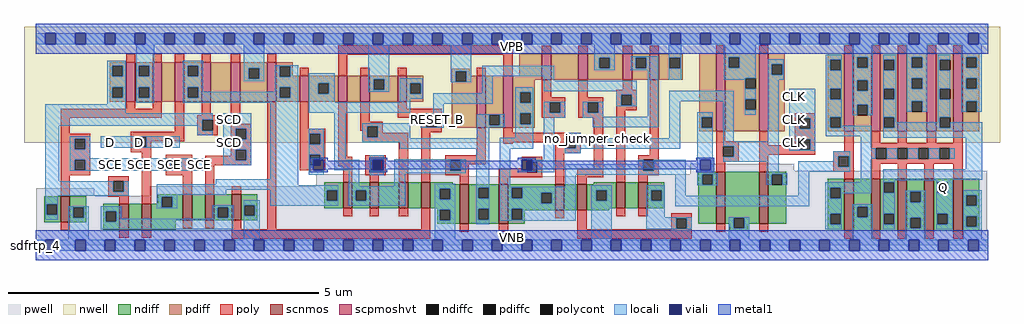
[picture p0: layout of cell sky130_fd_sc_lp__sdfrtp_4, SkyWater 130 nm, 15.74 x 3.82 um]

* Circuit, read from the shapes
.subckt sky130_fd_sc_lp__sdfrtp_4 CLK D RESET_B SCD SCE VGND VNB VPB VPWR Q
XM1 VGND SCE n1 VNB sky130_fd_pr__nfet_01v8 w=0.42 l=0.15
XM2 n2 n1 n3 VNB sky130_fd_pr__nfet_01v8 w=0.42 l=0.15
XM3 n4 D n2 VNB sky130_fd_pr__nfet_01v8 w=0.42 l=0.15
XM4 n5 SCE n4 VNB sky130_fd_pr__nfet_01v8 w=0.42 l=0.15
XM5 n3 SCD n5 VNB sky130_fd_pr__nfet_01v8 w=0.42 l=0.15
XM6 VGND RESET_B n3 VNB sky130_fd_pr__nfet_01v8 w=0.42 l=0.15
XM7 n6 n7 n4 VNB sky130_fd_pr__nfet_01v8 w=0.42 l=0.15
XM8 n8 n9 n6 VNB sky130_fd_pr__nfet_01v8 w=0.42 l=0.15
XM9 n10 n11 n8 VNB sky130_fd_pr__nfet_01v8 w=0.42 l=0.15
XM10 VGND RESET_B n10 VNB sky130_fd_pr__nfet_01v8 w=0.42 l=0.15
XM11 n11 n6 VGND VNB sky130_fd_pr__nfet_01v8 w=0.64 l=0.15
XM12 n12 n9 n11 VNB sky130_fd_pr__nfet_01v8 w=0.64 l=0.15
XM13 n13 n7 n12 VNB sky130_fd_pr__nfet_01v8 w=0.42 l=0.15
XM14 VGND n14 n13 VNB sky130_fd_pr__nfet_01v8 w=0.42 l=0.15
XM15 n15 RESET_B VGND VNB sky130_fd_pr__nfet_01v8 w=0.42 l=0.15
XM16 n14 n12 n15 VNB sky130_fd_pr__nfet_01v8 w=0.42 l=0.15
XM17 VGND n7 n9 VNB sky130_fd_pr__nfet_01v8 w=0.84 l=0.15
XM18 n7 CLK VGND VNB sky130_fd_pr__nfet_01v8 w=0.84 l=0.15
XM19 VGND n12 n16 VNB sky130_fd_pr__nfet_01v8 w=0.84 l=0.15
XM20 Q n16 VGND VNB sky130_fd_pr__nfet_01v8 w=0.84 l=0.15 m=4
XM21 VPWR SCE n1 VPB sky130_fd_pr__pfet_01v8_hvt w=0.64 l=0.15
XM22 n17 SCE VPWR VPB sky130_fd_pr__pfet_01v8_hvt w=0.64 l=0.15
XM23 n4 D n17 VPB sky130_fd_pr__pfet_01v8_hvt w=0.64 l=0.15
XM24 n18 n1 n4 VPB sky130_fd_pr__pfet_01v8_hvt w=0.64 l=0.15
XM25 VPWR SCD n18 VPB sky130_fd_pr__pfet_01v8_hvt w=0.64 l=0.15
XM26 n4 RESET_B VPWR VPB sky130_fd_pr__pfet_01v8_hvt w=0.64 l=0.15
XM27 n6 n9 n4 VPB sky130_fd_pr__pfet_01v8_hvt w=0.42 l=0.15
XM28 n19 n7 n6 VPB sky130_fd_pr__pfet_01v8_hvt w=0.42 l=0.15
XM29 VPWR n11 n19 VPB sky130_fd_pr__pfet_01v8_hvt w=0.42 l=0.15
XM30 n6 RESET_B VPWR VPB sky130_fd_pr__pfet_01v8_hvt w=0.42 l=0.15
XM31 n11 n6 VPWR VPB sky130_fd_pr__pfet_01v8_hvt w=0.84 l=0.15
XM32 n12 n7 n11 VPB sky130_fd_pr__pfet_01v8_hvt w=0.84 l=0.15
XM33 n20 n9 n12 VPB sky130_fd_pr__pfet_01v8_hvt w=0.42 l=0.15
XM34 VPWR n14 n20 VPB sky130_fd_pr__pfet_01v8_hvt w=0.42 l=0.15
XM35 n14 RESET_B VPWR VPB sky130_fd_pr__pfet_01v8_hvt w=0.42 l=0.15
XM36 VPWR n12 n14 VPB sky130_fd_pr__pfet_01v8_hvt w=0.42 l=0.15
XM37 VPWR n7 n9 VPB sky130_fd_pr__pfet_01v8_hvt w=1.26 l=0.15
XM38 n7 CLK VPWR VPB sky130_fd_pr__pfet_01v8_hvt w=1.26 l=0.15
XM39 VPWR n12 n16 VPB sky130_fd_pr__pfet_01v8_hvt w=1.26 l=0.15
XM40 Q n16 VPWR VPB sky130_fd_pr__pfet_01v8_hvt w=1.26 l=0.15 m=4
.ends

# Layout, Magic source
magic
tech sky130A
magscale 1 2
<< nwell >>
rect -38 331 3110 704
<< pwell >>
rect 2111 241 2446 263
rect 2111 229 3069 241
rect 905 223 1371 229
rect 1773 223 3069 229
rect 905 191 3069 223
rect 1 160 189 184
rect 368 160 3069 191
rect 1 49 3069 160
rect 0 0 3072 49
<< scnmos >>
rect 80 74 110 158
rect 270 50 300 134
rect 342 50 372 134
rect 474 81 504 165
rect 546 81 576 165
rect 632 81 662 165
rect 991 119 1021 203
rect 1077 119 1107 203
rect 1171 119 1201 203
rect 1243 119 1273 203
rect 1367 69 1397 197
rect 1494 69 1524 197
rect 1675 113 1705 197
rect 1747 113 1777 197
rect 1872 119 1902 203
rect 1944 119 1974 203
rect 2194 69 2224 237
rect 2333 69 2363 237
rect 2608 47 2638 215
rect 2694 47 2724 215
rect 2780 47 2810 215
rect 2866 47 2896 215
rect 2960 47 2990 215
<< scpmoshvt >>
rect 291 463 321 591
rect 377 463 407 591
rect 449 463 479 591
rect 535 463 565 591
rect 629 463 659 591
rect 746 463 776 591
rect 851 463 881 547
rect 975 463 1005 547
rect 1047 463 1077 547
rect 1167 463 1197 547
rect 1422 379 1452 547
rect 1508 379 1538 547
rect 1632 533 1662 617
rect 1750 533 1780 617
rect 1894 533 1924 617
rect 1980 533 2010 617
rect 2194 367 2224 619
rect 2333 367 2363 619
rect 2608 367 2638 619
rect 2694 367 2724 619
rect 2780 367 2810 619
rect 2874 367 2904 619
rect 2960 367 2990 619
<< ndiff >>
rect 27 133 80 158
rect 27 99 35 133
rect 69 99 80 133
rect 27 74 80 99
rect 110 122 163 158
rect 394 157 474 165
rect 394 134 406 157
rect 110 88 121 122
rect 155 88 163 122
rect 110 74 163 88
rect 217 109 270 134
rect 217 75 225 109
rect 259 75 270 109
rect 217 50 270 75
rect 300 50 342 134
rect 372 123 406 134
rect 440 123 474 157
rect 372 81 474 123
rect 504 81 546 165
rect 576 123 632 165
rect 576 89 587 123
rect 621 89 632 123
rect 576 81 632 89
rect 662 129 715 165
rect 662 95 673 129
rect 707 95 715 129
rect 662 81 715 95
rect 372 50 452 81
rect 931 178 991 203
rect 931 144 939 178
rect 973 144 991 178
rect 931 119 991 144
rect 1021 178 1077 203
rect 1021 144 1032 178
rect 1066 144 1077 178
rect 1021 119 1077 144
rect 1107 119 1171 203
rect 1201 119 1243 203
rect 1273 197 1345 203
rect 2137 229 2194 237
rect 1799 197 1872 203
rect 1273 183 1367 197
rect 1273 149 1303 183
rect 1337 149 1367 183
rect 1273 119 1367 149
rect 1295 115 1367 119
rect 1295 81 1303 115
rect 1337 81 1367 115
rect 1295 69 1367 81
rect 1397 185 1494 197
rect 1397 151 1427 185
rect 1461 151 1494 185
rect 1397 117 1494 151
rect 1397 83 1427 117
rect 1461 83 1494 117
rect 1397 69 1494 83
rect 1524 185 1675 197
rect 1524 151 1535 185
rect 1569 170 1675 185
rect 1569 151 1630 170
rect 1524 136 1630 151
rect 1664 136 1675 170
rect 1524 117 1675 136
rect 1524 83 1535 117
rect 1569 113 1675 117
rect 1705 113 1747 197
rect 1777 177 1872 197
rect 1777 143 1807 177
rect 1841 143 1872 177
rect 1777 119 1872 143
rect 1902 119 1944 203
rect 1974 177 2027 203
rect 1974 143 1985 177
rect 2019 143 2027 177
rect 1974 119 2027 143
rect 2137 195 2149 229
rect 2183 195 2194 229
rect 1777 113 1849 119
rect 1569 83 1577 113
rect 1524 69 1577 83
rect 2137 69 2194 195
rect 2224 89 2333 237
rect 2224 69 2251 89
rect 2239 55 2251 69
rect 2285 69 2333 89
rect 2363 229 2420 237
rect 2363 195 2374 229
rect 2408 195 2420 229
rect 2363 69 2420 195
rect 2555 185 2608 215
rect 2555 151 2563 185
rect 2597 151 2608 185
rect 2555 101 2608 151
rect 2285 55 2297 69
rect 2239 47 2297 55
rect 2555 67 2563 101
rect 2597 67 2608 101
rect 2555 47 2608 67
rect 2638 124 2694 215
rect 2638 90 2649 124
rect 2683 90 2694 124
rect 2638 47 2694 90
rect 2724 203 2780 215
rect 2724 169 2735 203
rect 2769 169 2780 203
rect 2724 101 2780 169
rect 2724 67 2735 101
rect 2769 67 2780 101
rect 2724 47 2780 67
rect 2810 173 2866 215
rect 2810 139 2821 173
rect 2855 139 2866 173
rect 2810 89 2866 139
rect 2810 55 2821 89
rect 2855 55 2866 89
rect 2810 47 2866 55
rect 2896 203 2960 215
rect 2896 169 2907 203
rect 2941 169 2960 203
rect 2896 101 2960 169
rect 2896 67 2907 101
rect 2941 67 2960 101
rect 2896 47 2960 67
rect 2990 161 3043 215
rect 2990 127 3001 161
rect 3035 127 3043 161
rect 2990 93 3043 127
rect 2990 59 3001 93
rect 3035 59 3043 93
rect 2990 47 3043 59
<< pdiff >>
rect 238 579 291 591
rect 238 545 246 579
rect 280 545 291 579
rect 238 509 291 545
rect 238 475 246 509
rect 280 475 291 509
rect 238 463 291 475
rect 321 579 377 591
rect 321 545 332 579
rect 366 545 377 579
rect 321 509 377 545
rect 321 475 332 509
rect 366 475 377 509
rect 321 463 377 475
rect 407 463 449 591
rect 479 579 535 591
rect 479 545 490 579
rect 524 545 535 579
rect 479 509 535 545
rect 479 475 490 509
rect 524 475 535 509
rect 479 463 535 475
rect 565 463 629 591
rect 659 571 746 591
rect 659 537 687 571
rect 721 537 746 571
rect 659 463 746 537
rect 776 577 829 591
rect 776 543 787 577
rect 821 547 829 577
rect 1342 561 1400 569
rect 821 543 851 547
rect 776 509 851 543
rect 776 475 787 509
rect 821 475 851 509
rect 776 463 851 475
rect 881 522 975 547
rect 881 488 911 522
rect 945 488 975 522
rect 881 463 975 488
rect 1005 463 1047 547
rect 1077 535 1167 547
rect 1077 501 1090 535
rect 1124 501 1167 535
rect 1077 463 1167 501
rect 1197 522 1250 547
rect 1197 488 1208 522
rect 1242 488 1250 522
rect 1197 463 1250 488
rect 1342 527 1354 561
rect 1388 547 1400 561
rect 1560 547 1632 617
rect 1388 527 1422 547
rect 1342 379 1422 527
rect 1452 421 1508 547
rect 1452 387 1463 421
rect 1497 387 1508 421
rect 1452 379 1508 387
rect 1538 533 1632 547
rect 1662 533 1750 617
rect 1780 605 1894 617
rect 1780 571 1817 605
rect 1851 571 1894 605
rect 1780 533 1894 571
rect 1924 605 1980 617
rect 1924 571 1935 605
rect 1969 571 1980 605
rect 1924 533 1980 571
rect 2010 605 2086 617
rect 2010 571 2044 605
rect 2078 571 2086 605
rect 2010 533 2086 571
rect 1538 493 1610 533
rect 1538 459 1563 493
rect 1597 459 1610 493
rect 1538 425 1610 459
rect 1538 391 1563 425
rect 1597 391 1610 425
rect 1538 379 1610 391
rect 2140 413 2194 619
rect 2140 379 2148 413
rect 2182 379 2194 413
rect 2140 367 2194 379
rect 2224 607 2333 619
rect 2224 573 2235 607
rect 2269 573 2333 607
rect 2224 539 2333 573
rect 2224 505 2288 539
rect 2322 505 2333 539
rect 2224 471 2333 505
rect 2224 437 2288 471
rect 2322 437 2333 471
rect 2224 367 2333 437
rect 2363 584 2416 619
rect 2363 550 2374 584
rect 2408 550 2416 584
rect 2363 367 2416 550
rect 2555 599 2608 619
rect 2555 565 2563 599
rect 2597 565 2608 599
rect 2555 505 2608 565
rect 2555 471 2563 505
rect 2597 471 2608 505
rect 2555 413 2608 471
rect 2555 379 2563 413
rect 2597 379 2608 413
rect 2555 367 2608 379
rect 2638 607 2694 619
rect 2638 573 2649 607
rect 2683 573 2694 607
rect 2638 532 2694 573
rect 2638 498 2649 532
rect 2683 498 2694 532
rect 2638 453 2694 498
rect 2638 419 2649 453
rect 2683 419 2694 453
rect 2638 367 2694 419
rect 2724 599 2780 619
rect 2724 565 2735 599
rect 2769 565 2780 599
rect 2724 505 2780 565
rect 2724 471 2735 505
rect 2769 471 2780 505
rect 2724 413 2780 471
rect 2724 379 2735 413
rect 2769 379 2780 413
rect 2724 367 2780 379
rect 2810 607 2874 619
rect 2810 573 2825 607
rect 2859 573 2874 607
rect 2810 539 2874 573
rect 2810 505 2825 539
rect 2859 505 2874 539
rect 2810 465 2874 505
rect 2810 431 2825 465
rect 2859 431 2874 465
rect 2810 367 2874 431
rect 2904 599 2960 619
rect 2904 565 2915 599
rect 2949 565 2960 599
rect 2904 505 2960 565
rect 2904 471 2915 505
rect 2949 471 2960 505
rect 2904 413 2960 471
rect 2904 379 2915 413
rect 2949 379 2960 413
rect 2904 367 2960 379
rect 2990 607 3043 619
rect 2990 573 3001 607
rect 3035 573 3043 607
rect 2990 539 3043 573
rect 2990 505 3001 539
rect 3035 505 3043 539
rect 2990 465 3043 505
rect 2990 431 3001 465
rect 3035 431 3043 465
rect 2990 367 3043 431
<< ndiffc >>
rect 35 99 69 133
rect 121 88 155 122
rect 225 75 259 109
rect 406 123 440 157
rect 587 89 621 123
rect 673 95 707 129
rect 939 144 973 178
rect 1032 144 1066 178
rect 1303 149 1337 183
rect 1303 81 1337 115
rect 1427 151 1461 185
rect 1427 83 1461 117
rect 1535 151 1569 185
rect 1630 136 1664 170
rect 1535 83 1569 117
rect 1807 143 1841 177
rect 1985 143 2019 177
rect 2149 195 2183 229
rect 2251 55 2285 89
rect 2374 195 2408 229
rect 2563 151 2597 185
rect 2563 67 2597 101
rect 2649 90 2683 124
rect 2735 169 2769 203
rect 2735 67 2769 101
rect 2821 139 2855 173
rect 2821 55 2855 89
rect 2907 169 2941 203
rect 2907 67 2941 101
rect 3001 127 3035 161
rect 3001 59 3035 93
<< pdiffc >>
rect 246 545 280 579
rect 246 475 280 509
rect 332 545 366 579
rect 332 475 366 509
rect 490 545 524 579
rect 490 475 524 509
rect 687 537 721 571
rect 787 543 821 577
rect 787 475 821 509
rect 911 488 945 522
rect 1090 501 1124 535
rect 1208 488 1242 522
rect 1354 527 1388 561
rect 1463 387 1497 421
rect 1817 571 1851 605
rect 1935 571 1969 605
rect 2044 571 2078 605
rect 1563 459 1597 493
rect 1563 391 1597 425
rect 2148 379 2182 413
rect 2235 573 2269 607
rect 2288 505 2322 539
rect 2288 437 2322 471
rect 2374 550 2408 584
rect 2563 565 2597 599
rect 2563 471 2597 505
rect 2563 379 2597 413
rect 2649 573 2683 607
rect 2649 498 2683 532
rect 2649 419 2683 453
rect 2735 565 2769 599
rect 2735 471 2769 505
rect 2735 379 2769 413
rect 2825 573 2859 607
rect 2825 505 2859 539
rect 2825 431 2859 465
rect 2915 565 2949 599
rect 2915 471 2949 505
rect 2915 379 2949 413
rect 3001 573 3035 607
rect 3001 505 3035 539
rect 3001 431 3035 465
<< poly >>
rect 291 591 321 617
rect 377 591 407 617
rect 449 591 479 617
rect 535 591 565 617
rect 629 591 659 617
rect 746 591 776 617
rect 975 615 1538 645
rect 1632 617 1662 643
rect 1750 617 1780 643
rect 1894 617 1924 643
rect 1980 617 2010 643
rect 2194 619 2224 645
rect 2333 619 2363 645
rect 2608 619 2638 645
rect 2694 619 2724 645
rect 2780 619 2810 645
rect 2874 619 2904 645
rect 2960 619 2990 645
rect 851 547 881 573
rect 975 547 1005 615
rect 1047 547 1077 573
rect 1167 547 1197 573
rect 1422 547 1452 573
rect 1508 547 1538 615
rect 291 441 321 463
rect 377 441 407 463
rect 80 411 407 441
rect 80 360 110 411
rect 449 366 479 463
rect 535 420 565 463
rect 80 344 176 360
rect 80 310 126 344
rect 160 310 176 344
rect 80 276 176 310
rect 306 350 479 366
rect 521 404 587 420
rect 521 370 537 404
rect 571 370 587 404
rect 521 354 587 370
rect 629 392 659 463
rect 629 376 695 392
rect 306 316 322 350
rect 356 336 479 350
rect 629 342 645 376
rect 679 342 695 376
rect 356 316 372 336
rect 306 300 372 316
rect 80 242 126 276
rect 160 242 176 276
rect 80 226 176 242
rect 80 158 110 226
rect 234 206 300 222
rect 234 172 250 206
rect 284 172 300 206
rect 234 156 300 172
rect 270 134 300 156
rect 342 134 372 300
rect 629 308 695 342
rect 420 276 504 292
rect 629 288 645 308
rect 420 242 436 276
rect 470 242 504 276
rect 420 226 504 242
rect 474 165 504 226
rect 546 274 645 288
rect 679 274 695 308
rect 546 258 695 274
rect 546 165 576 258
rect 632 165 662 191
rect 80 48 110 74
rect 474 55 504 81
rect 546 55 576 81
rect 632 51 662 81
rect 746 51 776 463
rect 851 376 881 463
rect 851 360 933 376
rect 851 326 883 360
rect 917 326 933 360
rect 851 292 933 326
rect 851 258 883 292
rect 917 258 933 292
rect 851 242 933 258
rect 975 285 1005 463
rect 1047 399 1077 463
rect 1167 441 1197 463
rect 1167 415 1310 441
rect 1167 411 1260 415
rect 1047 383 1119 399
rect 1047 369 1069 383
rect 1053 349 1069 369
rect 1103 363 1119 383
rect 1243 381 1260 411
rect 1294 381 1310 415
rect 1243 365 1310 381
rect 1632 477 1662 533
rect 1750 477 1780 533
rect 1894 501 1924 533
rect 1872 485 1938 501
rect 1632 461 1708 477
rect 1632 427 1658 461
rect 1692 427 1708 461
rect 1632 411 1708 427
rect 1750 461 1830 477
rect 1750 427 1780 461
rect 1814 427 1830 461
rect 1750 411 1830 427
rect 1103 349 1201 363
rect 1053 333 1201 349
rect 975 255 1021 285
rect 991 203 1021 255
rect 1063 275 1129 291
rect 1063 241 1079 275
rect 1113 241 1129 275
rect 1063 225 1129 241
rect 1077 203 1107 225
rect 1171 203 1201 333
rect 1243 203 1273 365
rect 1422 291 1452 379
rect 1508 363 1538 379
rect 1508 347 1758 363
rect 1508 333 1708 347
rect 1508 327 1538 333
rect 1321 275 1452 291
rect 1675 313 1708 333
rect 1742 313 1758 347
rect 1675 297 1758 313
rect 1321 241 1337 275
rect 1371 261 1452 275
rect 1567 269 1633 285
rect 1371 241 1397 261
rect 1567 249 1583 269
rect 1321 225 1397 241
rect 1367 197 1397 225
rect 1494 235 1583 249
rect 1617 235 1633 269
rect 1494 219 1633 235
rect 1494 197 1524 219
rect 1675 197 1705 297
rect 1800 249 1830 411
rect 1747 219 1830 249
rect 1872 451 1888 485
rect 1922 451 1938 485
rect 1872 435 1938 451
rect 1747 197 1777 219
rect 1872 203 1902 435
rect 1980 291 2010 533
rect 2448 410 2514 426
rect 2448 376 2464 410
rect 2498 376 2514 410
rect 1944 275 2010 291
rect 1944 241 1960 275
rect 1994 241 2010 275
rect 1944 225 2010 241
rect 2194 335 2224 367
rect 2194 319 2268 335
rect 2194 285 2218 319
rect 2252 285 2268 319
rect 2194 269 2268 285
rect 2333 322 2363 367
rect 2448 342 2514 376
rect 2448 322 2464 342
rect 2333 308 2464 322
rect 2498 308 2514 342
rect 2333 292 2514 308
rect 2608 303 2638 367
rect 2194 237 2224 269
rect 2333 237 2363 292
rect 2572 287 2638 303
rect 2572 253 2588 287
rect 2622 253 2638 287
rect 2572 237 2638 253
rect 1944 203 1974 225
rect 991 93 1021 119
rect 1077 93 1107 119
rect 1171 93 1201 119
rect 1243 51 1273 119
rect 1675 87 1705 113
rect 270 24 300 50
rect 342 24 372 50
rect 632 21 1273 51
rect 1367 43 1397 69
rect 1494 43 1524 69
rect 1747 51 1777 113
rect 1872 93 1902 119
rect 1944 93 1974 119
rect 2049 87 2115 103
rect 2049 53 2065 87
rect 2099 53 2115 87
rect 2049 51 2115 53
rect 1747 21 2115 51
rect 2194 43 2224 69
rect 2608 215 2638 237
rect 2694 329 2724 367
rect 2780 329 2810 367
rect 2874 329 2904 367
rect 2960 329 2990 367
rect 2694 313 2990 329
rect 2694 279 2710 313
rect 2744 279 2778 313
rect 2812 279 2846 313
rect 2880 279 2914 313
rect 2948 279 2990 313
rect 2694 263 2990 279
rect 2694 215 2724 263
rect 2780 215 2810 263
rect 2866 215 2896 263
rect 2960 215 2990 263
rect 2333 43 2363 69
rect 2608 21 2638 47
rect 2694 21 2724 47
rect 2780 21 2810 47
rect 2866 21 2896 47
rect 2960 21 2990 47
<< polycont >>
rect 126 310 160 344
rect 537 370 571 404
rect 322 316 356 350
rect 645 342 679 376
rect 126 242 160 276
rect 250 172 284 206
rect 436 242 470 276
rect 645 274 679 308
rect 883 326 917 360
rect 883 258 917 292
rect 1069 349 1103 383
rect 1260 381 1294 415
rect 1658 427 1692 461
rect 1780 427 1814 461
rect 1079 241 1113 275
rect 1708 313 1742 347
rect 1337 241 1371 275
rect 1583 235 1617 269
rect 1888 451 1922 485
rect 2464 376 2498 410
rect 1960 241 1994 275
rect 2218 285 2252 319
rect 2464 308 2498 342
rect 2588 253 2622 287
rect 2065 53 2099 87
rect 2710 279 2744 313
rect 2778 279 2812 313
rect 2846 279 2880 313
rect 2914 279 2948 313
<< locali >>
rect 0 649 31 683
rect 65 649 127 683
rect 161 649 223 683
rect 257 649 319 683
rect 353 649 415 683
rect 449 649 511 683
rect 545 649 607 683
rect 641 649 703 683
rect 737 649 799 683
rect 833 649 895 683
rect 929 649 991 683
rect 1025 649 1087 683
rect 1121 649 1183 683
rect 1217 649 1279 683
rect 1313 649 1375 683
rect 1409 649 1471 683
rect 1505 649 1567 683
rect 1601 649 1663 683
rect 1697 649 1759 683
rect 1793 649 1855 683
rect 1889 649 1951 683
rect 1985 649 2047 683
rect 2081 649 2143 683
rect 2177 649 2239 683
rect 2273 649 2335 683
rect 2369 649 2431 683
rect 2465 649 2527 683
rect 2561 649 2623 683
rect 2657 649 2719 683
rect 2753 649 2815 683
rect 2849 649 2911 683
rect 2945 649 3007 683
rect 3041 649 3072 683
rect 230 579 290 595
rect 230 545 246 579
rect 280 545 290 579
rect 230 509 290 545
rect 230 475 246 509
rect 280 475 290 509
rect 230 455 290 475
rect 324 579 382 649
rect 324 545 332 579
rect 366 545 382 579
rect 324 509 382 545
rect 324 475 332 509
rect 366 475 382 509
rect 324 459 382 475
rect 474 579 540 595
rect 474 545 490 579
rect 524 545 540 579
rect 474 509 540 545
rect 671 571 737 649
rect 671 537 687 571
rect 721 537 737 571
rect 671 529 737 537
rect 771 577 847 581
rect 771 543 787 577
rect 821 543 847 577
rect 474 475 490 509
rect 524 495 540 509
rect 771 509 847 543
rect 771 495 787 509
rect 524 475 787 495
rect 821 475 847 509
rect 474 459 847 475
rect 31 425 290 455
rect 31 404 571 425
rect 31 386 537 404
rect 31 206 76 386
rect 521 370 537 386
rect 521 354 571 370
rect 605 376 695 425
rect 110 344 176 352
rect 110 310 126 344
rect 160 310 176 344
rect 210 350 465 352
rect 210 316 322 350
rect 356 316 465 350
rect 210 314 465 316
rect 605 342 645 376
rect 679 342 695 376
rect 110 280 176 310
rect 605 308 695 342
rect 110 276 561 280
rect 110 242 126 276
rect 160 242 436 276
rect 470 242 561 276
rect 605 274 645 308
rect 679 274 695 308
rect 605 258 695 274
rect 110 241 561 242
rect 756 213 847 459
rect 881 522 965 555
rect 881 488 911 522
rect 945 488 965 522
rect 1072 535 1140 649
rect 1338 561 1404 649
rect 1801 605 1867 649
rect 1072 501 1090 535
rect 1124 501 1140 535
rect 1072 495 1140 501
rect 1174 522 1248 538
rect 1338 527 1354 561
rect 1388 527 1404 561
rect 1338 525 1404 527
rect 1440 545 1672 579
rect 1801 571 1817 605
rect 1851 571 1867 605
rect 1801 565 1867 571
rect 1919 605 2008 609
rect 1919 571 1935 605
rect 1969 571 2008 605
rect 1919 565 2008 571
rect 881 461 965 488
rect 1174 488 1208 522
rect 1242 488 1248 522
rect 1440 491 1474 545
rect 1638 531 1672 545
rect 1174 472 1248 488
rect 1174 461 1208 472
rect 881 427 1208 461
rect 1282 457 1474 491
rect 1547 493 1604 509
rect 1638 497 1938 531
rect 1547 459 1563 493
rect 1597 459 1604 493
rect 1872 485 1938 497
rect 881 360 929 376
rect 881 326 883 360
rect 917 326 929 360
rect 881 292 929 326
rect 881 258 883 292
rect 917 276 929 292
rect 881 242 895 258
rect 963 276 999 427
rect 1282 426 1316 457
rect 1242 415 1316 426
rect 1547 425 1604 459
rect 1053 383 1208 393
rect 1053 349 1069 383
rect 1103 349 1208 383
rect 1242 381 1260 415
rect 1294 381 1316 415
rect 1242 379 1316 381
rect 1423 421 1513 423
rect 1423 387 1463 421
rect 1497 387 1513 421
rect 1423 380 1513 387
rect 1547 391 1563 425
rect 1597 391 1604 425
rect 1053 345 1208 349
rect 1423 345 1463 380
rect 1547 346 1604 391
rect 1053 333 1463 345
rect 1174 311 1463 333
rect 1077 276 1123 291
rect 963 242 1043 276
rect 881 228 929 242
rect 31 172 250 206
rect 284 172 300 206
rect 581 197 847 213
rect 31 159 300 172
rect 390 194 847 197
rect 390 179 975 194
rect 390 163 615 179
rect 757 178 975 179
rect 31 133 71 159
rect 31 99 35 133
rect 69 99 71 133
rect 390 157 456 163
rect 31 83 71 99
rect 105 122 171 125
rect 105 88 121 122
rect 155 88 171 122
rect 105 17 171 88
rect 209 109 275 125
rect 390 123 406 157
rect 440 123 456 157
rect 671 129 723 145
rect 390 119 456 123
rect 571 123 637 129
rect 209 75 225 109
rect 259 85 275 109
rect 571 89 587 123
rect 621 89 637 123
rect 571 85 637 89
rect 259 75 637 85
rect 209 51 637 75
rect 671 95 673 129
rect 707 95 723 129
rect 757 144 939 178
rect 973 144 975 178
rect 757 128 975 144
rect 1009 191 1043 242
rect 1077 275 1087 276
rect 1077 241 1079 275
rect 1121 242 1123 276
rect 1113 241 1123 242
rect 1077 225 1123 241
rect 1157 275 1387 277
rect 1157 241 1337 275
rect 1371 241 1387 275
rect 1157 233 1387 241
rect 1157 191 1191 233
rect 1009 178 1191 191
rect 1009 144 1032 178
rect 1066 144 1191 178
rect 1009 128 1191 144
rect 1287 183 1353 199
rect 1287 149 1303 183
rect 1337 149 1353 183
rect 671 17 723 95
rect 1287 115 1353 149
rect 1287 81 1303 115
rect 1337 81 1353 115
rect 1287 17 1353 81
rect 1421 185 1463 311
rect 1421 151 1427 185
rect 1461 151 1463 185
rect 1421 117 1463 151
rect 1421 83 1427 117
rect 1461 83 1463 117
rect 1421 67 1463 83
rect 1497 312 1604 346
rect 1638 461 1708 463
rect 1638 427 1658 461
rect 1692 427 1708 461
rect 1638 411 1708 427
rect 1764 461 1830 463
rect 1764 427 1780 461
rect 1814 427 1830 461
rect 1872 451 1888 485
rect 1922 451 1938 485
rect 1872 449 1938 451
rect 1764 415 1830 427
rect 1974 415 2008 565
rect 2042 605 2082 649
rect 2042 571 2044 605
rect 2078 571 2082 605
rect 2042 533 2082 571
rect 2219 607 2322 649
rect 2219 573 2235 607
rect 2269 573 2322 607
rect 2219 539 2322 573
rect 2219 533 2288 539
rect 2286 505 2288 533
rect 1764 411 2008 415
rect 1497 189 1531 312
rect 1638 276 1672 411
rect 1796 381 2008 411
rect 2044 465 2252 499
rect 1706 347 1758 363
rect 1706 313 1708 347
rect 1742 345 1758 347
rect 2044 345 2078 465
rect 1742 313 2078 345
rect 1706 311 2078 313
rect 2133 413 2184 429
rect 2133 379 2148 413
rect 2182 379 2184 413
rect 1706 297 1758 311
rect 1601 269 1672 276
rect 2133 276 2184 379
rect 1567 235 1583 242
rect 1617 235 1672 269
rect 1944 261 1960 275
rect 1708 241 1960 261
rect 1994 241 2097 275
rect 1708 227 2097 241
rect 1708 189 1742 227
rect 1497 185 1742 189
rect 1497 151 1535 185
rect 1569 170 1742 185
rect 1569 151 1630 170
rect 1497 136 1630 151
rect 1664 136 1742 170
rect 1497 117 1742 136
rect 1497 83 1535 117
rect 1569 83 1742 117
rect 1497 79 1742 83
rect 1791 177 1857 193
rect 1791 143 1807 177
rect 1841 143 1857 177
rect 1791 17 1857 143
rect 1969 177 2029 193
rect 1969 143 1985 177
rect 2019 143 2029 177
rect 1969 91 2029 143
rect 2063 159 2097 227
rect 2133 242 2143 276
rect 2177 242 2184 276
rect 2218 335 2252 465
rect 2286 471 2322 505
rect 2286 437 2288 471
rect 2286 421 2322 437
rect 2361 584 2412 600
rect 2361 550 2374 584
rect 2408 550 2412 584
rect 2361 534 2412 550
rect 2548 599 2599 615
rect 2548 565 2563 599
rect 2597 565 2599 599
rect 2361 335 2397 534
rect 2548 505 2599 565
rect 2218 319 2397 335
rect 2252 285 2397 319
rect 2431 410 2514 505
rect 2431 376 2464 410
rect 2498 376 2514 410
rect 2431 342 2514 376
rect 2548 471 2563 505
rect 2597 471 2599 505
rect 2548 413 2599 471
rect 2633 607 2699 649
rect 2633 573 2649 607
rect 2683 573 2699 607
rect 2633 532 2699 573
rect 2633 498 2649 532
rect 2683 498 2699 532
rect 2633 453 2699 498
rect 2633 419 2649 453
rect 2683 419 2699 453
rect 2733 599 2775 615
rect 2733 565 2735 599
rect 2769 565 2775 599
rect 2733 505 2775 565
rect 2733 471 2735 505
rect 2769 471 2775 505
rect 2548 379 2563 413
rect 2597 385 2599 413
rect 2733 413 2775 471
rect 2809 607 2875 649
rect 2809 573 2825 607
rect 2859 573 2875 607
rect 2809 539 2875 573
rect 2809 505 2825 539
rect 2859 505 2875 539
rect 2809 465 2875 505
rect 2809 431 2825 465
rect 2859 431 2875 465
rect 2909 599 2949 615
rect 2909 565 2915 599
rect 2909 505 2949 565
rect 2909 471 2915 505
rect 2597 379 2695 385
rect 2548 351 2695 379
rect 2431 308 2464 342
rect 2498 308 2514 342
rect 2431 305 2514 308
rect 2661 313 2695 351
rect 2733 379 2735 413
rect 2769 397 2775 413
rect 2909 413 2949 471
rect 2985 607 3051 649
rect 2985 573 3001 607
rect 3035 573 3051 607
rect 2985 539 3051 573
rect 2985 505 3001 539
rect 3035 505 3051 539
rect 2985 465 3051 505
rect 2985 431 3001 465
rect 3035 431 3051 465
rect 2909 397 2915 413
rect 2769 379 2915 397
rect 2949 379 3052 397
rect 2733 347 3052 379
rect 2218 269 2397 285
rect 2572 287 2627 303
rect 2572 271 2588 287
rect 2133 233 2184 242
rect 2358 233 2397 269
rect 2460 253 2588 271
rect 2622 253 2627 287
rect 2460 237 2627 253
rect 2661 279 2710 313
rect 2744 279 2778 313
rect 2812 279 2846 313
rect 2880 279 2914 313
rect 2948 279 2964 313
rect 2133 229 2199 233
rect 2133 195 2149 229
rect 2183 195 2199 229
rect 2358 229 2424 233
rect 2358 195 2374 229
rect 2408 195 2424 229
rect 2133 193 2199 195
rect 2460 159 2494 237
rect 2661 203 2695 279
rect 3000 245 3052 347
rect 2063 125 2494 159
rect 2547 185 2695 203
rect 2547 151 2563 185
rect 2597 167 2695 185
rect 2733 211 3052 245
rect 2733 209 2958 211
rect 2733 203 2771 209
rect 2733 169 2735 203
rect 2769 169 2771 203
rect 2905 203 2958 209
rect 2597 151 2599 167
rect 2547 101 2599 151
rect 1969 87 2115 91
rect 1969 53 2065 87
rect 2099 53 2115 87
rect 1969 51 2115 53
rect 2235 89 2301 91
rect 2235 55 2251 89
rect 2285 55 2301 89
rect 2235 17 2301 55
rect 2547 67 2563 101
rect 2597 67 2599 101
rect 2547 51 2599 67
rect 2633 124 2699 133
rect 2633 90 2649 124
rect 2683 90 2699 124
rect 2633 17 2699 90
rect 2733 101 2771 169
rect 2733 67 2735 101
rect 2769 67 2771 101
rect 2733 51 2771 67
rect 2805 173 2871 175
rect 2805 139 2821 173
rect 2855 139 2871 173
rect 2805 89 2871 139
rect 2805 55 2821 89
rect 2855 55 2871 89
rect 2805 17 2871 55
rect 2905 169 2907 203
rect 2941 169 2958 203
rect 2905 101 2958 169
rect 2905 67 2907 101
rect 2941 67 2958 101
rect 2905 51 2958 67
rect 2992 161 3051 177
rect 2992 127 3001 161
rect 3035 127 3051 161
rect 2992 93 3051 127
rect 2992 59 3001 93
rect 3035 59 3051 93
rect 2992 17 3051 59
rect 0 -17 31 17
rect 65 -17 127 17
rect 161 -17 223 17
rect 257 -17 319 17
rect 353 -17 415 17
rect 449 -17 511 17
rect 545 -17 607 17
rect 641 -17 703 17
rect 737 -17 799 17
rect 833 -17 895 17
rect 929 -17 991 17
rect 1025 -17 1087 17
rect 1121 -17 1183 17
rect 1217 -17 1279 17
rect 1313 -17 1375 17
rect 1409 -17 1471 17
rect 1505 -17 1567 17
rect 1601 -17 1663 17
rect 1697 -17 1759 17
rect 1793 -17 1855 17
rect 1889 -17 1951 17
rect 1985 -17 2047 17
rect 2081 -17 2143 17
rect 2177 -17 2239 17
rect 2273 -17 2335 17
rect 2369 -17 2431 17
rect 2465 -17 2527 17
rect 2561 -17 2623 17
rect 2657 -17 2719 17
rect 2753 -17 2815 17
rect 2849 -17 2911 17
rect 2945 -17 3007 17
rect 3041 -17 3072 17
<< viali >>
rect 31 649 65 683
rect 127 649 161 683
rect 223 649 257 683
rect 319 649 353 683
rect 415 649 449 683
rect 511 649 545 683
rect 607 649 641 683
rect 703 649 737 683
rect 799 649 833 683
rect 895 649 929 683
rect 991 649 1025 683
rect 1087 649 1121 683
rect 1183 649 1217 683
rect 1279 649 1313 683
rect 1375 649 1409 683
rect 1471 649 1505 683
rect 1567 649 1601 683
rect 1663 649 1697 683
rect 1759 649 1793 683
rect 1855 649 1889 683
rect 1951 649 1985 683
rect 2047 649 2081 683
rect 2143 649 2177 683
rect 2239 649 2273 683
rect 2335 649 2369 683
rect 2431 649 2465 683
rect 2527 649 2561 683
rect 2623 649 2657 683
rect 2719 649 2753 683
rect 2815 649 2849 683
rect 2911 649 2945 683
rect 3007 649 3041 683
rect 895 258 917 276
rect 917 258 929 276
rect 895 242 929 258
rect 1087 275 1121 276
rect 1087 242 1113 275
rect 1113 242 1121 275
rect 1567 269 1601 276
rect 1567 242 1583 269
rect 1583 242 1601 269
rect 2143 242 2177 276
rect 31 -17 65 17
rect 127 -17 161 17
rect 223 -17 257 17
rect 319 -17 353 17
rect 415 -17 449 17
rect 511 -17 545 17
rect 607 -17 641 17
rect 703 -17 737 17
rect 799 -17 833 17
rect 895 -17 929 17
rect 991 -17 1025 17
rect 1087 -17 1121 17
rect 1183 -17 1217 17
rect 1279 -17 1313 17
rect 1375 -17 1409 17
rect 1471 -17 1505 17
rect 1567 -17 1601 17
rect 1663 -17 1697 17
rect 1759 -17 1793 17
rect 1855 -17 1889 17
rect 1951 -17 1985 17
rect 2047 -17 2081 17
rect 2143 -17 2177 17
rect 2239 -17 2273 17
rect 2335 -17 2369 17
rect 2431 -17 2465 17
rect 2527 -17 2561 17
rect 2623 -17 2657 17
rect 2719 -17 2753 17
rect 2815 -17 2849 17
rect 2911 -17 2945 17
rect 3007 -17 3041 17
<< metal1 >>
rect 0 683 3072 715
rect 0 649 31 683
rect 65 649 127 683
rect 161 649 223 683
rect 257 649 319 683
rect 353 649 415 683
rect 449 649 511 683
rect 545 649 607 683
rect 641 649 703 683
rect 737 649 799 683
rect 833 649 895 683
rect 929 649 991 683
rect 1025 649 1087 683
rect 1121 649 1183 683
rect 1217 649 1279 683
rect 1313 649 1375 683
rect 1409 649 1471 683
rect 1505 649 1567 683
rect 1601 649 1663 683
rect 1697 649 1759 683
rect 1793 649 1855 683
rect 1889 649 1951 683
rect 1985 649 2047 683
rect 2081 649 2143 683
rect 2177 649 2239 683
rect 2273 649 2335 683
rect 2369 649 2431 683
rect 2465 649 2527 683
rect 2561 649 2623 683
rect 2657 649 2719 683
rect 2753 649 2815 683
rect 2849 649 2911 683
rect 2945 649 3007 683
rect 3041 649 3072 683
rect 0 617 3072 649
rect 883 276 941 282
rect 883 242 895 276
rect 929 273 941 276
rect 1075 276 1133 282
rect 1075 273 1087 276
rect 929 245 1087 273
rect 929 242 941 245
rect 883 236 941 242
rect 1075 242 1087 245
rect 1121 273 1133 276
rect 1555 276 1613 282
rect 1555 273 1567 276
rect 1121 245 1567 273
rect 1121 242 1133 245
rect 1075 236 1133 242
rect 1555 242 1567 245
rect 1601 273 1613 276
rect 2131 276 2189 282
rect 2131 273 2143 276
rect 1601 245 2143 273
rect 1601 242 1613 245
rect 1555 236 1613 242
rect 2131 242 2143 245
rect 2177 242 2189 276
rect 2131 236 2189 242
rect 0 17 3072 49
rect 0 -17 31 17
rect 65 -17 127 17
rect 161 -17 223 17
rect 257 -17 319 17
rect 353 -17 415 17
rect 449 -17 511 17
rect 545 -17 607 17
rect 641 -17 703 17
rect 737 -17 799 17
rect 833 -17 895 17
rect 929 -17 991 17
rect 1025 -17 1087 17
rect 1121 -17 1183 17
rect 1217 -17 1279 17
rect 1313 -17 1375 17
rect 1409 -17 1471 17
rect 1505 -17 1567 17
rect 1601 -17 1663 17
rect 1697 -17 1759 17
rect 1793 -17 1855 17
rect 1889 -17 1951 17
rect 1985 -17 2047 17
rect 2081 -17 2143 17
rect 2177 -17 2239 17
rect 2273 -17 2335 17
rect 2369 -17 2431 17
rect 2465 -17 2527 17
rect 2561 -17 2623 17
rect 2657 -17 2719 17
rect 2753 -17 2815 17
rect 2849 -17 2911 17
rect 2945 -17 3007 17
rect 3041 -17 3072 17
rect 0 -49 3072 -17
<< labels >>
flabel pwell s 0 0 3072 49 0 FreeSans 200 0 0 0 VNB
port 7 nsew ground bidirectional
flabel nwell s 0 617 3072 666 0 FreeSans 200 0 0 0 VPB
port 8 nsew power bidirectional
rlabel comment s 0 0 0 0 4 sdfrtp_4
flabel comment s 1812 345 1812 345 0 FreeSans 200 90 0 0 no_jumper_check
flabel metal1 s 0 617 3072 666 0 FreeSans 340 0 0 0 VPWR
port 9 nsew power bidirectional
flabel metal1 s 0 0 3072 49 0 FreeSans 340 0 0 0 VGND
port 6 nsew ground bidirectional
flabel locali s 223 242 257 276 0 FreeSans 340 0 0 0 SCE
port 5 nsew signal input
flabel locali s 319 242 353 276 0 FreeSans 340 0 0 0 SCE
port 5 nsew signal input
flabel locali s 415 242 449 276 0 FreeSans 340 0 0 0 SCE
port 5 nsew signal input
flabel locali s 511 242 545 276 0 FreeSans 340 0 0 0 SCE
port 5 nsew signal input
flabel locali s 1279 390 1313 424 0 FreeSans 340 0 0 0 RESET_B
port 3 nsew signal input
flabel locali s 2431 316 2465 350 0 FreeSans 340 0 0 0 CLK
port 1 nsew clock input
flabel locali s 2431 390 2465 424 0 FreeSans 340 0 0 0 CLK
port 1 nsew clock input
flabel locali s 2431 464 2465 498 0 FreeSans 340 0 0 0 CLK
port 1 nsew clock input
flabel locali s 607 316 641 350 0 FreeSans 340 0 0 0 SCD
port 4 nsew signal input
flabel locali s 607 390 641 424 0 FreeSans 340 0 0 0 SCD
port 4 nsew signal input
flabel locali s 223 316 257 350 0 FreeSans 340 0 0 0 D
port 2 nsew signal input
flabel locali s 319 316 353 350 0 FreeSans 340 0 0 0 D
port 2 nsew signal input
flabel locali s 415 316 449 350 0 FreeSans 340 0 0 0 D
port 2 nsew signal input
flabel locali s 2911 168 2945 202 0 FreeSans 340 0 0 0 Q
port 10 nsew signal output
<< properties >>
string LEFsite unit
string LEFclass CORE
string FIXED_BBOX 0 0 3072 666
string GDS_FILE $PDKPATH/libs.ref/sky130_fd_sc_lp/gds/sky130_fd_sc_lp.gds
string LEFsymmetry X Y R90
string GDS_END 3167146
string GDS_START 3145112
<< end >>
